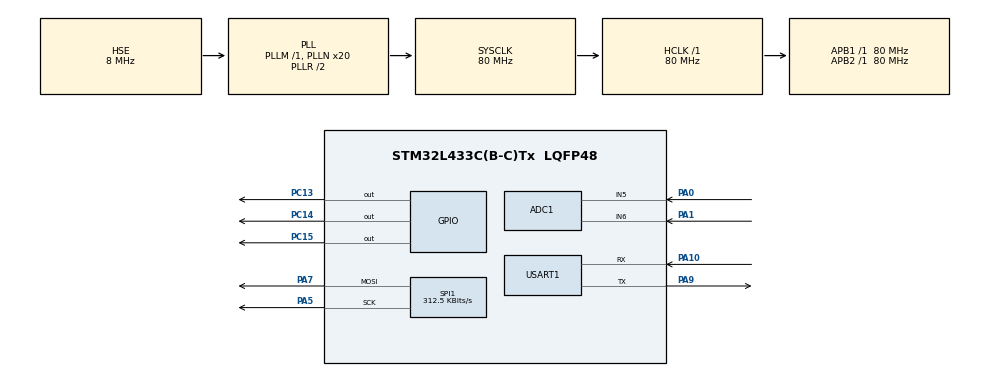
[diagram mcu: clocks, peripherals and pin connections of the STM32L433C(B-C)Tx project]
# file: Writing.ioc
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ADC1.Channel-0\#ChannelRegularConversion=ADC_CHANNEL_5
ADC1.Channel-1\#ChannelRegularConversion=ADC_CHANNEL_6
ADC1.ContinuousConvMode=DISABLE
ADC1.DMAContinuousRequests=ENABLE
ADC1.DiscontinuousConvMode=DISABLE
ADC1.ExternalTrigConv=ADC_EXTERNALTRIG_T6_TRGO
ADC1.NbrOfConversion=2
ADC1.NbrOfConversionFlag=1
ADC1.OffsetNumber-0\#ChannelRegularConversion=ADC_OFFSET_NONE
ADC1.OffsetNumber-1\#ChannelRegularConversion=ADC_OFFSET_NONE
ADC1.OversamplingMode=ENABLE
ADC1.Rank-0\#ChannelRegularConversion=1
ADC1.Rank-1\#ChannelRegularConversion=2
ADC1.Ratio=ADC_OVERSAMPLING_RATIO_256
ADC1.RightBitShift=ADC_RIGHTBITSHIFT_4
ADC1.SamplingTime-0\#ChannelRegularConversion=ADC_SAMPLETIME_2CYCLES_5
ADC1.SamplingTime-1\#ChannelRegularConversion=ADC_SAMPLETIME_2CYCLES_5
ADC1.master=1
Dma.ADC1.0.Direction=DMA_PERIPH_TO_MEMORY
Dma.ADC1.0.Instance=DMA1_Channel1
Dma.ADC1.0.MemDataAlignment=DMA_MDATAALIGN_HALFWORD
Dma.ADC1.0.MemInc=DMA_MINC_ENABLE
Dma.ADC1.0.Mode=DMA_CIRCULAR
Dma.ADC1.0.PeriphDataAlignment=DMA_PDATAALIGN_HALFWORD
Dma.ADC1.0.PeriphInc=DMA_PINC_DISABLE
Dma.ADC1.0.Priority=DMA_PRIORITY_LOW
Dma.Request0=ADC1
Dma.Request1=USART1_TX
Dma.USART1_TX.1.Direction=DMA_MEMORY_TO_PERIPH
Dma.USART1_TX.1.Instance=DMA1_Channel4
Dma.USART1_TX.1.MemDataAlignment=DMA_MDATAALIGN_BYTE
Dma.USART1_TX.1.MemInc=DMA_MINC_ENABLE
Dma.USART1_TX.1.Mode=DMA_CIRCULAR
Dma.USART1_TX.1.PeriphDataAlignment=DMA_PDATAALIGN_BYTE
Dma.USART1_TX.1.PeriphInc=DMA_PINC_DISABLE
Dma.USART1_TX.1.Priority=DMA_PRIORITY_LOW
Mcu.Family=STM32L4
Mcu.Name=STM32L433C(B-C)Tx
Mcu.Package=LQFP48
NVIC.DMA1_Channel1_IRQn=true\:0\:0\:false\:false\:true\:false\:true
NVIC.DMA1_Channel4_IRQn=true\:0\:0\:false\:false\:true\:false\:true
NVIC.PriorityGroup=NVIC_PRIORITYGROUP_4
PA0.Signal=ADCx_IN5
PA1.Signal=ADCx_IN6
PA10.Mode=Asynchronous
PA10.Signal=USART1_RX
PA13\ (JTMS-SWDIO).Mode=JTAG_4_pins
PA13\ (JTMS-SWDIO).Signal=SYS_JTMS-SWDIO
PA14\ (JTCK-SWCLK).Mode=JTAG_4_pins
PA14\ (JTCK-SWCLK).Signal=SYS_JTCK-SWCLK
PA15\ (JTDI).Mode=JTAG_4_pins
PA15\ (JTDI).Signal=SYS_JTDI
PA5.Mode=TX_Only_Simplex_Unidirect_Master
PA5.Signal=SPI1_SCK
PA7.Mode=TX_Only_Simplex_Unidirect_Master
PA7.Signal=SPI1_MOSI
PA9.Mode=Asynchronous
PA9.Signal=USART1_TX
PB3\ (JTDO-TRACESWO).Mode=JTAG_4_pins
PB3\ (JTDO-TRACESWO).Signal=SYS_JTDO-SWO
PC13.Signal=GPIO_Output
PC14-OSC32_IN\ (PC14).Signal=GPIO_Output
PC15-OSC32_OUT\ (PC15).Signal=GPIO_Output
PH0-OSC_IN\ (PH0).Mode=HSE-External-Oscillator
PH0-OSC_IN\ (PH0).Signal=RCC_OSC_IN
PH1-OSC_OUT\ (PH1).Mode=HSE-External-Oscillator
PH1-OSC_OUT\ (PH1).Signal=RCC_OSC_OUT
ProjectManager.HeapSize=0x200
ProjectManager.StackSize=0x400
ProjectManager.TargetToolchain=MDK-ARM V5
RCC.ADCFreq_Value=32000000
RCC.AHBFreq_Value=80000000
RCC.APB1Freq_Value=80000000
RCC.APB1TimFreq_Value=80000000
RCC.APB2Freq_Value=80000000
RCC.APB2TimFreq_Value=80000000
RCC.CortexFreq_Value=80000000
RCC.HCLKFreq_Value=80000000
RCC.HSE_VALUE=8000000
RCC.HSI48_VALUE=48000000
RCC.HSI_VALUE=16000000
RCC.LSE_VALUE=32768
RCC.MSI_VALUE=4000000
RCC.PLLN=20
RCC.PLLSourceVirtual=RCC_PLLSOURCE_HSE
RCC.SYSCLKFreq_VALUE=80000000
RCC.SYSCLKSource=RCC_SYSCLKSOURCE_PLLCLK
RCC.USBFreq_Value=32000000
RCC.VCOOutputFreq_Value=160000000
SH.ADCx_IN5.0=ADC1_IN5,IN5-Single-Ended
SH.ADCx_IN6.0=ADC1_IN6,IN6-Single-Ended
SPI1.BaudRatePrescaler=SPI_BAUDRATEPRESCALER_256
SPI1.CalculateBaudRate=312.5 KBits/s
SPI1.DataSize=SPI_DATASIZE_8BIT
SPI1.Direction=SPI_DIRECTION_2LINES
SPI1.Mode=SPI_MODE_MASTER
SPI1.VirtualType=VM_MASTER
TIM6.AutoReloadPreload=TIM_AUTORELOAD_PRELOAD_ENABLE
TIM6.Period=1000-1
TIM6.Prescaler=80-1
TIM6.TIM_MasterOutputTrigger=TIM_TRGO_UPDATE
USART1.VirtualMode-Asynchronous=VM_ASYNC
VP_TIM6_VS_ClockSourceINT.Mode=Enable_Timer
board=custom

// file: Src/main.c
/* USER CODE BEGIN Header */
/**
  ******************************************************************************
  * @file           : main.c
  * @brief          : Main program body
  ******************************************************************************
  ** This notice applies to any and all portions of this file
  * that are not between comment pairs USER CODE BEGIN and
  * USER CODE END. Other portions of this file, whether
  * inserted by the user or by software development tools
  * are owned by their respective copyright owners.
  *
  * COPYRIGHT(c) 2018 STMicroelectronics
  *
  * Redistribution and use in source and binary forms, with or without modification,
  * are permitted provided that the following conditions are met:
  *   1. Redistributions of source code must retain the above copyright notice,
  *      this list of conditions and the following disclaimer.
  *   2. Redistributions in binary form must reproduce the above copyright notice,
  *      this list of conditions and the following disclaimer in the documentation
  *      and/or other materials provided with the distribution.
  *   3. Neither the name of STMicroelectronics nor the names of its contributors
  *      may be used to endorse or promote products derived from this software
  *      without specific prior written permission.
  *
  * THIS SOFTWARE IS PROVIDED BY THE COPYRIGHT HOLDERS AND CONTRIBUTORS "AS IS"
  * AND ANY EXPRESS OR IMPLIED WARRANTIES, INCLUDING, BUT NOT LIMITED TO, THE
  * IMPLIED WARRANTIES OF MERCHANTABILITY AND FITNESS FOR A PARTICULAR PURPOSE ARE
  * DISCLAIMED. IN NO EVENT SHALL THE COPYRIGHT HOLDER OR CONTRIBUTORS BE LIABLE
  * FOR ANY DIRECT, INDIRECT, INCIDENTAL, SPECIAL, EXEMPLARY, OR CONSEQUENTIAL
  * DAMAGES (INCLUDING, BUT NOT LIMITED TO, PROCUREMENT OF SUBSTITUTE GOODS OR
  * SERVICES; LOSS OF USE, DATA, OR PROFITS; OR BUSINESS INTERRUPTION) HOWEVER
  * CAUSED AND ON ANY THEORY OF LIABILITY, WHETHER IN CONTRACT, STRICT LIABILITY,
  * OR TORT (INCLUDING NEGLIGENCE OR OTHERWISE) ARISING IN ANY WAY OUT OF THE USE
  * OF THIS SOFTWARE, EVEN IF ADVISED OF THE POSSIBILITY OF SUCH DAMAGE.
  *
  ******************************************************************************
  */
/* USER CODE END Header */

#include "main.h"
#include "adc.h"
#include "dma.h"
#include "spi.h"
#include "tim.h"
#include "usart.h"
#include "gpio.h"

/* USER CODE BEGIN Includes */
#include "12864.h"
#include "ADPCM.h"
/* USER CODE END Includes */

void SystemClock_Config(void);
/* USER CODE BEGIN PFP */
u32 Ch_1, Ch_2 = 0;
short WorkingBuf[1024];
signed char Qerror[1024];
short Output[1024];
u16 len = 0;

/* USER CODE END PFP */

/* USER CODE BEGIN 0 */
void SysTick_interrupt()
{
    static u16 i;
    if(i == 20)
    {
//		if(ReadKey(1))
//			key1=1;
//		if(ReadKey(2))
//			key2=1;

        i = 0;
    }
    i++;
}

void Average()
{
    Ch_1 = 0;
    Ch_2 = 0;
    for(int i = 0; i < 50; i++)
    {
        Ch_1 += uhADCxConvertedValue[i * 2];
        Ch_2 += uhADCxConvertedValue[i * 2 + 1];
    }
    Ch_1 = Ch_1 / 50;
    Ch_2 = Ch_2 / 50;
}
#ifdef DPCM

int error[512];
int errorQ[512];
int S_input[512];
int R_input[512];

int Quant_Value(int err)
{
    if(err <= 2 && err > -2)
        return 0;
    if(err <= 7 && err > 2)
        return 5;
    if(err <= 13 && err > 7)
        return 10;
    if(err <= 22 && err > 13)
        return 17;
    if(err <= 33 && err > 22)
        return 28;
    if(err <= 45 && err > 33)
        return 39;
    if(err <= 59 && err > 45)
        return 52;
    if(err > 59)
        return 67;

    if(err > -7 && err <= -2)
        return -5;
    if(err > -13 && err <= -7)
        return -10;
    if(err > -22 && err <= -13)
        return -17;
    if(err > -33 && err <= -22)
        return -28;
    if(err > -45 && err <= -33)
        return -39;
    if(err > -59 && err <= -45)
        return -52;
    if(err <= -59)
        return -67;
    return 0;
}

void DPCM_encoder(u8* data)
{
	int predict;

    for(int i = 0; i < 512; i++)
    {
        if(i == 0)
            predict = 128;
        else
            predict = S_input[i - 1];
        error[i] = (int)data[i] - predict;
        errorQ[i] = Quant_Value(error[i]);
        S_input[i] = predict + errorQ[i];
    }
}

void DPCM_decoder()
{
	int predict;

    for(int i = 0; i < 512; i++)
    {
        if(i == 0)
            predict = 128;
        else
            predict = R_input[i - 1];
        R_input[i] = predict + errorQ[i];
    }
}
#endif

#define TxBufSize 2
u8 table[16] = {0x03, 0x05, 0x09, 0x11, 0x21, 0x41, 0x81, 0x06, 0x0A, 0x12, 0x22, 0x42, 0x82, 0x0C, 0x14, 0x24};
uint8_t aTxBuffer[TxBufSize] = {0};

void PPM_Encoder(u8 data)	//脉冲位置调制，一次两个脉冲，C_8^2>16,可传4bit
{
    //分两次传输
    //取低4bit
//	u8 temp = data & 0x0F;
//	HAL_UART_Transmit(&huart1, &table[temp], 1, 0xFFFF);
//	HAL_Delay(1);
//    temp = data >> 4;
//	HAL_UART_Transmit(&huart1, &table[temp], 1, 0xFFFF);
    u8 temp = data & 0x0F;
    aTxBuffer[0] = table[temp];
    temp = data >> 4;
    aTxBuffer[1] = table[temp];
}

/* USER CODE END 0 */

int main(void)
{

    /* MCU Configuration--------------------------------------------------------*/

    /* Reset of all peripherals, Initializes the Flash interface and the Systick. */
    HAL_Init();

    /* Configure the system clock */
    SystemClock_Config();

    /* Initialize all configured peripherals */
    MX_GPIO_Init();
    MX_DMA_Init();
    MX_ADC1_Init();
    MX_USART1_UART_Init();
    MX_TIM6_Init();
    MX_SPI1_Init();
    /* USER CODE BEGIN 2 */
    ADC_Tim6_START();
    LCD_Initial();
//    HAL_UART_Transmit_DMA(&huart1, (uint8_t*)aTxBuffer, TxBufSize);
//    PPM_Encoder(0x13);
struct adpcm_state adpcm;
/* USER CODE END 2 */

    /* Infinite loop */
    while(1)
    {

        /* USER CODE BEGIN 3 */
        if(ADC_HALF)
        {
			for(int i = 0;i<512;i++)
			{
				WorkingBuf[i] = uhADCxConvertedValue[i] - 32767;
			}
			for(int i = 0;i<512;i++)	// 编码前
			{
				printf("%d ",WorkingBuf[i]);
			}
			adpcm_coder(WorkingBuf, Qerror, 512, &adpcm);
			adpcm_decoder(Qerror, Output, 512, &adpcm);
			for(int i = 0;i<512;i++)	// 解码后
			{
				printf("%d ",Output[i]);
			}
            ADC_HALF = 0;
        }
        if(ADC_FULL)
        {

            ADC_FULL = 0;
        }

    }
    /* USER CODE END 3 */
}

void SystemClock_Config(void)
{
    RCC_OscInitTypeDef RCC_OscInitStruct = {0};
    RCC_ClkInitTypeDef RCC_ClkInitStruct = {0};
    RCC_PeriphCLKInitTypeDef PeriphClkInit = {0};

    /** Initializes the CPU, AHB and APB busses clocks
    */
    RCC_OscInitStruct.OscillatorType = RCC_OSCILLATORTYPE_HSE;
    RCC_OscInitStruct.HSEState = RCC_HSE_ON;
    RCC_OscInitStruct.PLL.PLLState = RCC_PLL_ON;
    RCC_OscInitStruct.PLL.PLLSource = RCC_PLLSOURCE_HSE;
    RCC_OscInitStruct.PLL.PLLM = 1;
    RCC_OscInitStruct.PLL.PLLN = 20;
    RCC_OscInitStruct.PLL.PLLP = RCC_PLLP_DIV7;
    RCC_OscInitStruct.PLL.PLLQ = RCC_PLLQ_DIV2;
    RCC_OscInitStruct.PLL.PLLR = RCC_PLLR_DIV2;
    if(HAL_RCC_OscConfig(&RCC_OscInitStruct) != HAL_OK)
    {
        Error_Handler();
    }
    /** Initializes the CPU, AHB and APB busses clocks
    */
    RCC_ClkInitStruct.ClockType = RCC_CLOCKTYPE_HCLK | RCC_CLOCKTYPE_SYSCLK
                                  | RCC_CLOCKTYPE_PCLK1 | RCC_CLOCKTYPE_PCLK2;
    RCC_ClkInitStruct.SYSCLKSource = RCC_SYSCLKSOURCE_PLLCLK;
    RCC_ClkInitStruct.AHBCLKDivider = RCC_SYSCLK_DIV1;
    RCC_ClkInitStruct.APB1CLKDivider = RCC_HCLK_DIV1;
    RCC_ClkInitStruct.APB2CLKDivider = RCC_HCLK_DIV1;

    if(HAL_RCC_ClockConfig(&RCC_ClkInitStruct, FLASH_LATENCY_4) != HAL_OK)
    {
        Error_Handler();
    }
    PeriphClkInit.PeriphClockSelection = RCC_PERIPHCLK_USART1 | RCC_PERIPHCLK_ADC;
    PeriphClkInit.Usart1ClockSelection = RCC_USART1CLKSOURCE_PCLK2;
    PeriphClkInit.AdcClockSelection = RCC_ADCCLKSOURCE_PLLSAI1;
    PeriphClkInit.PLLSAI1.PLLSAI1Source = RCC_PLLSOURCE_HSE;
    PeriphClkInit.PLLSAI1.PLLSAI1M = 1;
    PeriphClkInit.PLLSAI1.PLLSAI1N = 8;
    PeriphClkInit.PLLSAI1.PLLSAI1P = RCC_PLLP_DIV7;
    PeriphClkInit.PLLSAI1.PLLSAI1Q = RCC_PLLQ_DIV2;
    PeriphClkInit.PLLSAI1.PLLSAI1R = RCC_PLLR_DIV2;
    PeriphClkInit.PLLSAI1.PLLSAI1ClockOut = RCC_PLLSAI1_ADC1CLK;
    if(HAL_RCCEx_PeriphCLKConfig(&PeriphClkInit) != HAL_OK)
    {
        Error_Handler();
    }
    /** Configure the main internal regulator output voltage
    */
    if(HAL_PWREx_ControlVoltageScaling(PWR_REGULATOR_VOLTAGE_SCALE1) != HAL_OK)
    {
        Error_Handler();
    }
}

void Error_Handler(void)
{
}

/************************ (C) COPYRIGHT STMicroelectronics *****END OF FILE****/
